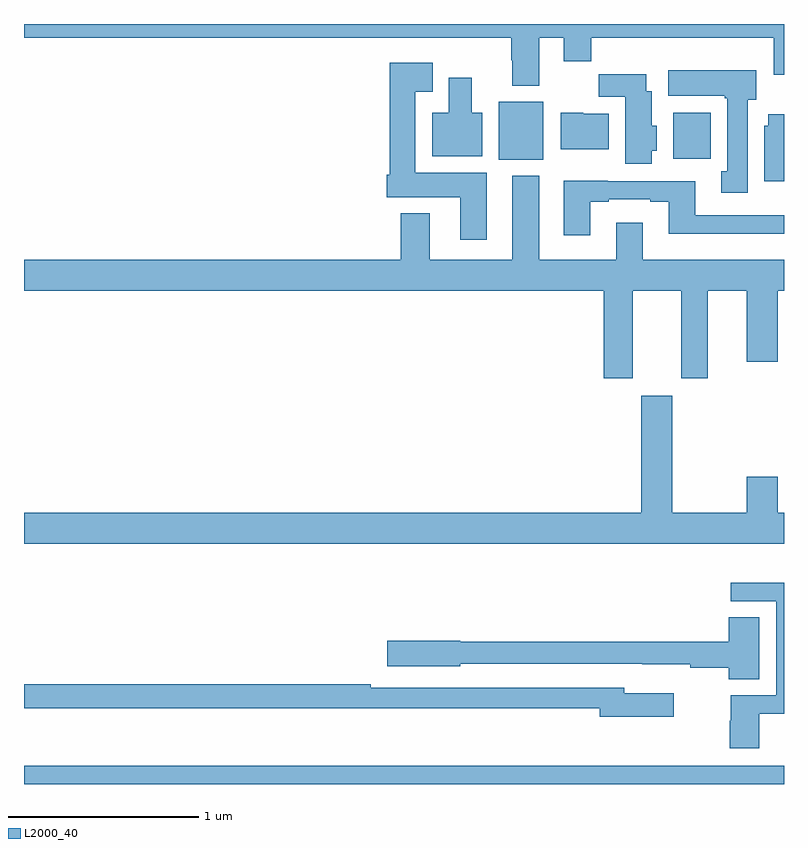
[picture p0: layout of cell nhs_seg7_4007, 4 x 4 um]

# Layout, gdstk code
import gdstk
lib = gdstk.Library(unit=1e-6, precision=1e-09)
def R(c, l, rs):  # rectangles x0, y0, x1, y1
    for r in rs: c.add(gdstk.rectangle(r[:2], r[2:], *l))
def P(c, l, *ps):  # polygons
    for p in ps: c.add(gdstk.Polygon(p, *l))
L2000_40 = (2000, 40)

nhs_seg7_4007 = lib.new_cell('nhs_seg7_4007')
R(nhs_seg7_4007, L2000_40, [(365,1018,369,1018.096), (367.499,1021.286,367.732,1021.591), (368.417,1021.292,368.614,1021.534)])
P(nhs_seg7_4007, L2000_40, [(367.711,1021.928),(367.841,1021.928),(367.841,1021.804),(367.985,1021.804),(367.985,1021.928),(368.945,1021.928),(368.945,1021.734),(369,1021.734),(369,1022),(365,1022),(365,1021.928),(367.564,1021.928),(367.564,1021.808),(367.571,1021.808),(367.571,1021.676),(367.711,1021.676)],
  [(367.435,1021.216),(367.06,1021.216),(367.06,1021.643),(367.15,1021.643),(367.15,1021.795),(366.926,1021.795),(366.926,1021.206),(366.908,1021.206),(366.908,1021.088),(367.295,1021.088),(367.295,1020.864),(367.435,1020.864)],
  [(368.809,1021.602),(368.854,1021.602),(368.854,1021.756),(368.39,1021.756),(368.39,1021.622),(368.689,1021.622),(368.689,1021.609),(368.702,1021.609),(368.702,1021.226),(368.669,1021.226),(368.669,1021.113),(368.809,1021.113)],
  [(368.305,1021.332),(368.329,1021.332),(368.329,1021.464),(368.305,1021.464),(368.305,1021.645),(368.275,1021.645),(368.275,1021.735),(368.026,1021.735),(368.026,1021.616),(368.165,1021.616),(368.165,1021.265),(368.305,1021.265)],
  [(367.411,1021.534),(367.357,1021.534),(367.357,1021.717),(367.235,1021.717),(367.235,1021.534),(367.148,1021.534),(367.148,1021.304),(367.411,1021.304)],
  [(368.077,1021.528),(367.944,1021.528),(367.944,1021.534),(367.826,1021.534),(367.826,1021.34),(368.077,1021.34)],
  [(369,1021.525),(368.918,1021.525),(368.918,1021.464),(368.897,1021.464),(368.897,1021.172),(369,1021.172)],
  [(367.981,1021.065),(368.077,1021.065),(368.077,1021.077),(368.297,1021.077),(368.297,1021.065),(368.393,1021.065),(368.393,1020.896),(369,1020.896),(369,1020.993),(368.533,1020.993),(368.533,1021.173),(368.073,1021.173),(368.073,1021.174),(367.841,1021.174),(367.841,1020.888),(367.981,1020.888)],
  [(368.257,1020.955),(368.117,1020.955),(368.117,1020.76),(367.711,1020.76),(367.711,1021.201),(367.571,1021.201),(367.571,1020.76),(367.135,1020.76),(367.135,1021.003),(366.983,1021.003),(366.983,1020.76),(365,1020.76),(365,1020.596),(368.051,1020.596),(368.051,1020.135),(368.203,1020.135),(368.203,1020.596),(368.459,1020.596),(368.459,1020.135),(368.599,1020.135),(368.599,1020.596),(368.804,1020.596),(368.804,1020.222),(368.968,1020.222),(368.968,1020.596),(369,1020.596),(369,1020.76),(368.257,1020.76)],
  [(369,1019.428),(368.968,1019.428),(368.968,1019.617),(368.804,1019.617),(368.804,1019.428),(368.413,1019.428),(368.413,1020.043),(368.249,1020.043),(368.249,1019.428),(365,1019.428),(365,1019.264),(369,1019.264)],
  [(368.869,1018.371),(369,1018.371),(369,1019.06),(368.721,1019.06),(368.721,1018.962),(368.958,1018.962),(368.958,1018.467),(368.719,1018.467),(368.719,1018.332),(368.714,1018.332),(368.714,1018.188),(368.869,1018.188)],
  [(368.869,1018.877),(368.708,1018.877),(368.708,1018.748),(367.296,1018.748),(367.296,1018.754),(366.912,1018.754),(366.912,1018.619),(367.296,1018.619),(367.296,1018.632),(368.254,1018.632),(368.254,1018.631),(368.506,1018.631),(368.506,1018.612),(368.708,1018.612),(368.708,1018.552),(368.869,1018.552)],
  [(368.419,1018.477),(368.158,1018.477),(368.158,1018.506),(366.824,1018.506),(366.824,1018.526),(365,1018.526),(365,1018.398),(368.03,1018.398),(368.03,1018.355),(368.419,1018.355)])

lib.write_gds('nhs_seg7_4007.gds')
